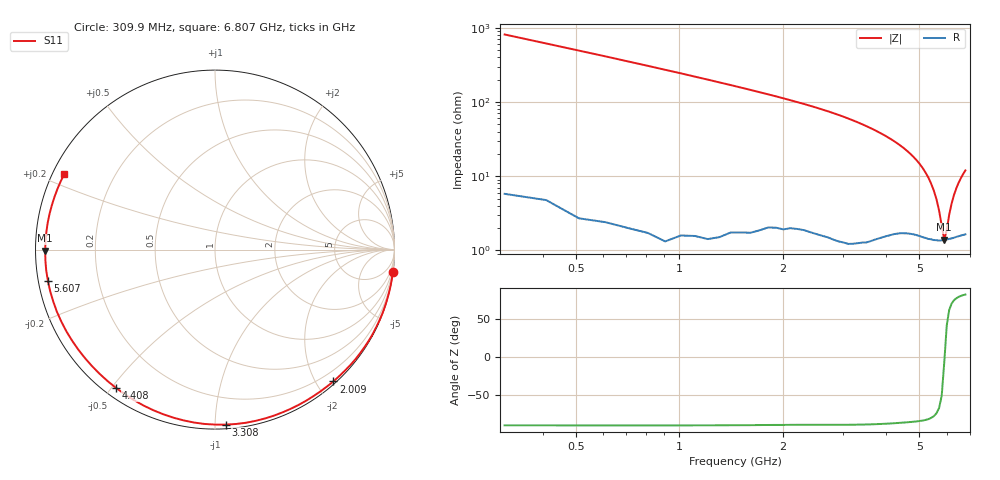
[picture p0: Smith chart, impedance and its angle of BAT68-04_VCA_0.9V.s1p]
! Infineon Technologies  Discrete & RF Semiconductors
! BAT68-04
! VCA = 0.9 V
! One-Port S-Parameters
# Hz  S  MA  R  50
!f  S11
!Hz  Mag  Ang
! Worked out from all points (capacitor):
!   66 points, 309.9 MHz to 6.807 GHz, reference 50 ohm
!   read as one part to ground: C = 629 fF near 309.9 MHz
!   lowest |Z| = 1.39 ohm at 5.907 GHz (marker M1)
!   series resonance near 5.919 GHz, so ESL is about 1.1 nH
!   S11 on the Smith chart (normalised r, x): 309.9 MHz: 0, -16; 2.009 GHz: 0.04, -2.24; 3.308 GHz: 0.02, -1.06; 4.408 GHz: 0.03, -0.51; 5.607 GHz: 0.03, -0.09; 6.807 GHz: 0.03, +0.24
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3.0985e8  0.9991 -7.0
6.097e8  0.9986 -13.8
8.096e8  0.9982 -18.5
1.2094e9  0.9967 -28.0
1.6092e9  0.9928 -37.8
2.009e9  0.9873 -48.1
2.4088e9  0.9832 -58.8
2.8086e9  0.9816 -70.5
3.10845e9  0.9801 -79.9
3.30835e9  0.9768 -86.5
3.50825e9  0.9733 -93.3
3.6082e9  0.9706 -96.8
3.8081e9  0.9647 -103.9
4.008e9  0.9586 -111.0
4.2079e9  0.9525 -118.3
4.4078e9  0.9476 -125.5
4.6077e9  0.9446 -132.8
4.8076e9  0.9435 -140.1
5.0075e9  0.9441 -147.5
5.2074e9  0.9455 -154.9
5.4073e9  0.9464 -162.1
5.6072e9  0.9471 -169.3
5.70715e9  0.9475 -172.8
5.90705e9  0.9462 -179.6
6.007e9  0.9455 177.1
6.2069e9  0.9439 170.7
6.4068e9  0.942 164.7
6.8066e9  0.9396 153.3
